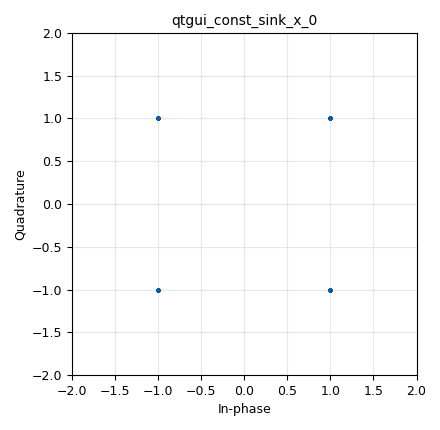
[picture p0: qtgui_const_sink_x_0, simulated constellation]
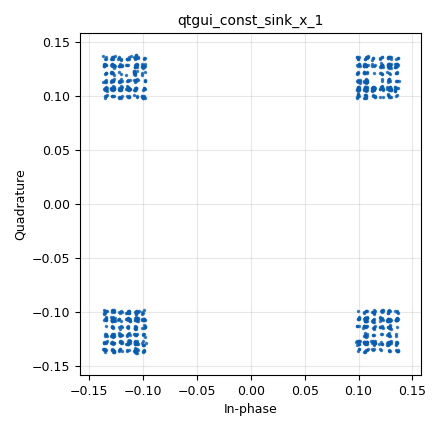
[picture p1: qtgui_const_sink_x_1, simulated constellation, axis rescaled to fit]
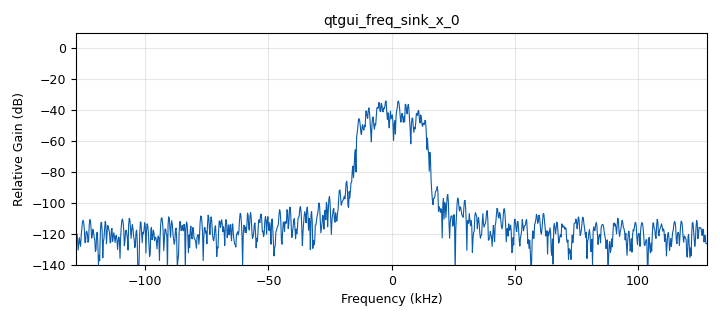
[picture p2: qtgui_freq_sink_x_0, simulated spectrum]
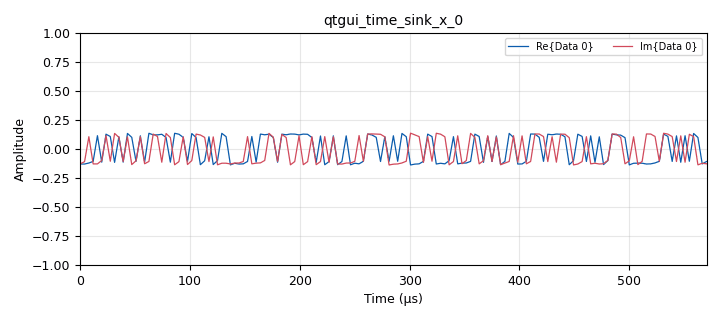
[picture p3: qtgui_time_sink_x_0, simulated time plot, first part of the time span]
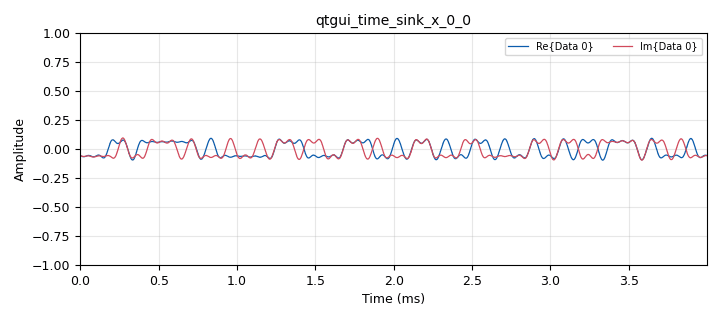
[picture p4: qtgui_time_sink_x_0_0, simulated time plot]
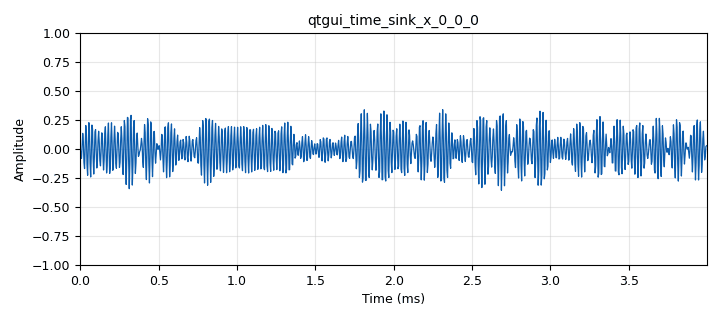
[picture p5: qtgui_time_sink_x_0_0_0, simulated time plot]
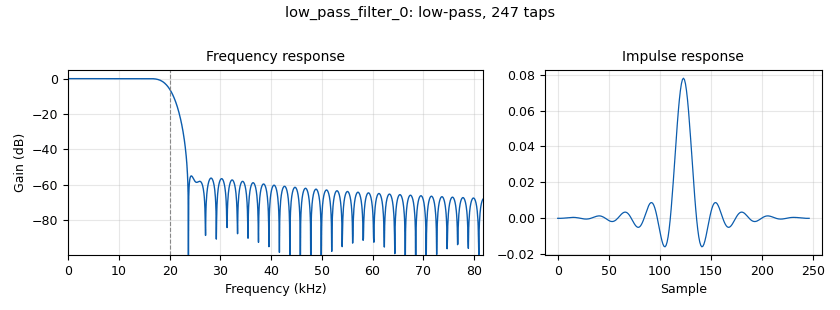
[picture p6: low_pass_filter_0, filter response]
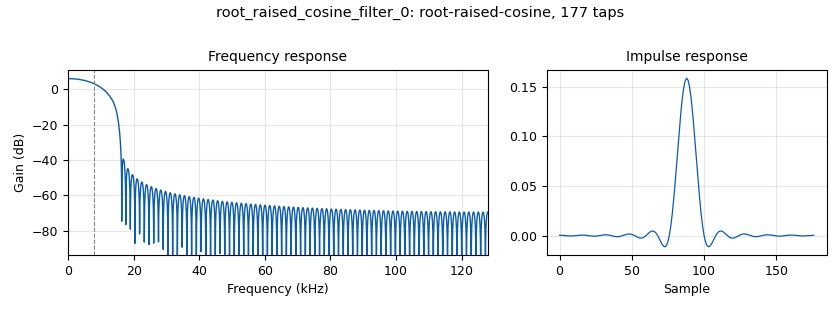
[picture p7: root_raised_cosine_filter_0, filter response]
options:
  parameters:
    generate_options: qt_gui
    id: equalization
    output_language: python
    title: Not titled yet
  states: {}

blocks:
- name: quad_rate
  id: variable
  parameters:
    value: '512000'
  states: {}
- name: sps
  id: variable
  parameters:
    value: '16'
  states: {}
- name: symb_rate
  id: variable
  parameters:
    value: '16000'
  states: {}
- name: analog_random_source_x_0
  id: analog_random_source_x
  parameters:
    max: '4'
    min: '0'
    num_samps: '1000'
    repeat: 'True'
    type: byte
  states: {}
- name: analog_sig_source_x_1
  id: analog_sig_source_x
  parameters:
    amp: '1'
    freq: '100000'
    offset: '0'
    phase: '0'
    samp_rate: quad_rate
    type: float
    waveform: analog.GR_COS_WAVE
  states: {}
- name: analog_sig_source_x_1_0
  id: analog_sig_source_x
  parameters:
    amp: '-1'
    freq: '100000'
    offset: '0'
    phase: '0'
    samp_rate: quad_rate
    type: float
    waveform: analog.GR_SIN_WAVE
  states: {}
- name: analog_sig_source_x_2
  id: analog_sig_source_x
  parameters:
    amp: '1'
    freq: '100000'
    offset: '0'
    phase: '0'
    samp_rate: quad_rate
    type: complex
    waveform: analog.GR_COS_WAVE
  states: {}
- name: blocks_add_xx_0
  id: blocks_add_xx
  parameters:
    type: float
  states: {}
- name: blocks_add_xx_1
  id: blocks_add_xx
  parameters:
    num_inputs: '5'
    type: float
  states: {}
- name: blocks_complex_to_real_0
  id: blocks_complex_to_real
  parameters: {}
  states: {}
- name: blocks_delay_0
  id: blocks_delay
  parameters:
    delay: '32'
    type: float
  states: {}
- name: blocks_delay_1
  id: blocks_delay
  parameters:
    delay: '64'
    type: float
  states: {}
- name: blocks_delay_1_0
  id: blocks_delay
  parameters:
    delay: '32'
    type: float
  states: {}
- name: blocks_delay_1_0_0
  id: blocks_delay
  parameters:
    delay: '96'
    type: float
  states: {}
- name: blocks_delay_1_0_0_0
  id: blocks_delay
  parameters:
    delay: '128'
    type: float
  states: {}
- name: blocks_float_to_complex_0
  id: blocks_float_to_complex
  parameters: {}
  states: {}
- name: blocks_multiply_const_vxx_0
  id: blocks_multiply_const_vxx
  parameters:
    const: '0.5'
    type: float
  states: {}
- name: blocks_multiply_const_vxx_1
  id: blocks_multiply_const_vxx
  parameters:
    const: '-0.5'
    type: float
  states: {}
- name: blocks_multiply_const_vxx_1_0
  id: blocks_multiply_const_vxx
  parameters:
    const: '0.25'
    type: float
  states: {}
- name: blocks_multiply_const_vxx_1_0_0
  id: blocks_multiply_const_vxx
  parameters:
    const: '-0.125'
    type: float
  states: {}
- name: blocks_multiply_const_vxx_1_0_0_0
  id: blocks_multiply_const_vxx
  parameters:
    const: '0.0625'
    type: float
  states: {}
- name: blocks_multiply_xx_0
  id: blocks_multiply_xx
  parameters:
    type: complex
  states: {}
- name: blocks_multiply_xx_1
  id: blocks_multiply_xx
  parameters:
    type: float
  states: {}
- name: blocks_multiply_xx_1_0
  id: blocks_multiply_xx
  parameters:
    type: float
  states: {}
- name: digital_chunks_to_symbols_xx_0
  id: digital_chunks_to_symbols_xx
  parameters:
    dimension: '1'
    in_type: byte
    out_type: complex
    symbol_table: ((-1-1j),(-1+1j),(1+1j),(1-1j))
  states: {}
- name: fir_filter_xxx_0
  id: fir_filter_xxx
  parameters:
    decim: sps
    taps: '1'
    type: ccc
  states: {}
- name: interp_fir_filter_xxx_0
  id: interp_fir_filter_xxx
  parameters:
    interp: sps
    taps: '1'
    type: ccc
  states: {}
- name: low_pass_filter_0
  id: low_pass_filter
  parameters:
    cutoff_freq: '20000'
    gain: '1'
    interp: '1'
    samp_rate: quad_rate
    type: interp_fir_filter_fff
    width: '5000'
    win: window.WIN_HAMMING
  states: {}
- name: low_pass_filter_0_0
  id: low_pass_filter
  parameters:
    cutoff_freq: '20000'
    gain: '1'
    interp: '1'
    samp_rate: quad_rate
    type: interp_fir_filter_fff
    width: '5000'
    win: window.WIN_HAMMING
  states: {}
- name: plot
  id: qtgui_tab_widget
  parameters:
    label0: Tab 0
    label1: Tab 1
    label2: Tab 2
    label3: Tab 3
    label4: Tab 4
    num_tabs: '5'
  states: {}
- name: qtgui_const_sink_x_0
  id: qtgui_const_sink_x
  parameters:
    gui_hint: plot@0
    size: '1024'
    type: complex
  states: {}
- name: qtgui_const_sink_x_1
  id: qtgui_const_sink_x
  parameters:
    gui_hint: plot@4
    size: '1024'
    type: complex
  states: {}
- name: qtgui_freq_sink_x_0
  id: qtgui_freq_sink_x
  parameters:
    bw: symb_rate*sps
    fc: '0'
    fftsize: '1024'
    gui_hint: plot@1
    type: complex
  states: {}
- name: qtgui_time_sink_x_0
  id: qtgui_time_sink_x
  parameters:
    gui_hint: plot@3
    size: '1024'
    srate: symb_rate*sps
    type: complex
  states: {}
- name: qtgui_time_sink_x_0_0
  id: qtgui_time_sink_x
  parameters:
    gui_hint: plot@3
    size: '1024'
    srate: symb_rate*sps
    type: complex
  states: {}
- name: qtgui_time_sink_x_0_0_0
  id: qtgui_time_sink_x
  parameters:
    gui_hint: plot@2
    size: '1024'
    srate: symb_rate*sps
    type: float
  states: {}
- name: qtgui_time_sink_x_0_0_0_0
  id: qtgui_time_sink_x
  parameters:
    gui_hint: plot@2
    size: '1024'
    srate: symb_rate*sps
    type: float
  states: {}
- name: rational_resampler_xxx_0
  id: rational_resampler_xxx
  parameters:
    decim: symb_rate*sps
    interp: quad_rate
    type: ccc
  states: {}
- name: rational_resampler_xxx_1
  id: rational_resampler_xxx
  parameters:
    decim: quad_rate
    interp: symb_rate*sps
    type: ccc
  states: {}
- name: root_raised_cosine_filter_0
  id: root_raised_cosine_filter
  parameters:
    alpha: '0.99'
    decim: '1'
    gain: '2'
    ntaps: 11*sps
    samp_rate: symb_rate*sps
    sym_rate: symb_rate
    type: fir_filter_ccf
  states: {}
- name: root_raised_cosine_filter_0_0
  id: root_raised_cosine_filter
  parameters:
    alpha: '0.99'
    decim: '1'
    gain: '2'
    ntaps: 11*sps
    samp_rate: symb_rate*sps
    sym_rate: symb_rate
    type: fir_filter_ccf
  states: {}
- name: virtual_sink_0
  id: virtual_sink
  parameters:
    stream_id: mod_stream
  states: {}
- name: virtual_sink_0_0
  id: virtual_sink
  parameters:
    stream_id: equalization
  states: {}
- name: virtual_sink_1
  id: virtual_sink
  parameters:
    stream_id: demod_stream
  states: {}
- name: virtual_source_0
  id: virtual_source
  parameters:
    stream_id: mod_stream
  states: {}
- name: virtual_source_1
  id: virtual_source
  parameters:
    stream_id: demod_stream
  states: {}
- name: virtual_source_2
  id: virtual_source
  parameters:
    stream_id: equalization
  states: {}

connections:
- [analog_random_source_x_0, '0', digital_chunks_to_symbols_xx_0, '0']
- [analog_sig_source_x_1, '0', blocks_multiply_xx_1, '0']
- [analog_sig_source_x_1_0, '0', blocks_multiply_xx_1_0, '1']
- [analog_sig_source_x_2, '0', blocks_multiply_xx_0, '0']
- [blocks_add_xx_0, '0', blocks_add_xx_1, '0']
- [blocks_add_xx_0, '0', blocks_delay_1, '0']
- [blocks_add_xx_0, '0', blocks_delay_1_0, '0']
- [blocks_add_xx_0, '0', blocks_delay_1_0_0, '0']
- [blocks_add_xx_0, '0', blocks_delay_1_0_0_0, '0']
- [blocks_add_xx_0, '0', qtgui_time_sink_x_0_0_0, '0']
- [blocks_add_xx_1, '0', virtual_sink_0_0, '0']
- [blocks_complex_to_real_0, '0', qtgui_time_sink_x_0_0_0_0, '0']
- [blocks_complex_to_real_0, '0', virtual_sink_0, '0']
- [blocks_delay_0, '0', blocks_multiply_const_vxx_0, '0']
- [blocks_delay_1, '0', blocks_multiply_const_vxx_1_0, '0']
- [blocks_delay_1_0, '0', blocks_multiply_const_vxx_1, '0']
- [blocks_delay_1_0_0, '0', blocks_multiply_const_vxx_1_0_0, '0']
- [blocks_delay_1_0_0_0, '0', blocks_multiply_const_vxx_1_0_0_0, '0']
- [blocks_float_to_complex_0, '0', rational_resampler_xxx_1, '0']
- [blocks_multiply_const_vxx_0, '0', blocks_add_xx_0, '0']
- [blocks_multiply_const_vxx_1, '0', blocks_add_xx_1, '1']
- [blocks_multiply_const_vxx_1_0, '0', blocks_add_xx_1, '2']
- [blocks_multiply_const_vxx_1_0_0, '0', blocks_add_xx_1, '3']
- [blocks_multiply_const_vxx_1_0_0_0, '0', blocks_add_xx_1, '4']
- [blocks_multiply_xx_0, '0', blocks_complex_to_real_0, '0']
- [blocks_multiply_xx_1, '0', low_pass_filter_0, '0']
- [blocks_multiply_xx_1_0, '0', low_pass_filter_0_0, '0']
- [digital_chunks_to_symbols_xx_0, '0', interp_fir_filter_xxx_0, '0']
- [digital_chunks_to_symbols_xx_0, '0', qtgui_const_sink_x_0, '0']
- [fir_filter_xxx_0, '0', qtgui_const_sink_x_1, '0']
- [fir_filter_xxx_0, '0', qtgui_time_sink_x_0, '0']
- [interp_fir_filter_xxx_0, '0', root_raised_cosine_filter_0, '0']
- [low_pass_filter_0, '0', blocks_float_to_complex_0, '0']
- [low_pass_filter_0_0, '0', blocks_float_to_complex_0, '1']
- [rational_resampler_xxx_0, '0', blocks_multiply_xx_0, '1']
- [rational_resampler_xxx_1, '0', qtgui_time_sink_x_0_0, '0']
- [rational_resampler_xxx_1, '0', virtual_sink_1, '0']
- [root_raised_cosine_filter_0, '0', qtgui_freq_sink_x_0, '0']
- [root_raised_cosine_filter_0, '0', rational_resampler_xxx_0, '0']
- [root_raised_cosine_filter_0_0, '0', fir_filter_xxx_0, '0']
- [virtual_source_0, '0', blocks_add_xx_0, '1']
- [virtual_source_0, '0', blocks_delay_0, '0']
- [virtual_source_1, '0', root_raised_cosine_filter_0_0, '0']
- [virtual_source_2, '0', blocks_multiply_xx_1, '1']
- [virtual_source_2, '0', blocks_multiply_xx_1_0, '0']

metadata:
  file_format: 1
  grc_version: 3.9.8.0-rc1
